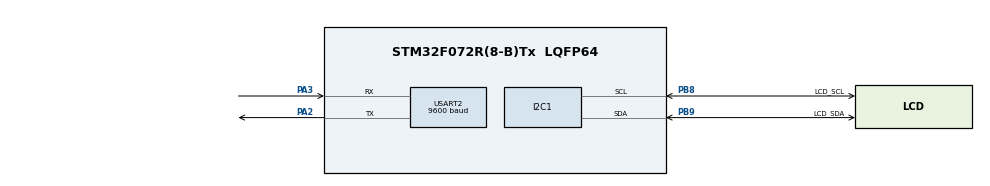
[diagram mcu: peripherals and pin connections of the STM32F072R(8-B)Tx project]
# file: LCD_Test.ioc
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Mcu.Family=STM32F0
Mcu.Name=STM32F072R(8-B)Tx
Mcu.Package=LQFP64
NVIC.USART2_IRQn=true\:0\:0\:false\:false\:true\:true\:true
PA13.Mode=Serial_Wire
PA13.Signal=SYS_SWDIO
PA14.Mode=Serial_Wire
PA14.Signal=SYS_SWCLK
PA2.Mode=Asynchronous
PA2.Signal=USART2_TX
PA3.Mode=Asynchronous
PA3.Signal=USART2_RX
PB6.Signal=USART1_TX
PB7.Signal=USART1_RX
PB8.GPIO_Label=LCD_SCL
PB8.Mode=I2C
PB8.Signal=I2C1_SCL
PB9.GPIO_Label=LCD_SDA
PB9.Mode=I2C
PB9.Signal=I2C1_SDA
ProjectManager.HeapSize=0x200
ProjectManager.StackSize=0x400
ProjectManager.TargetToolchain=STM32CubeIDE
USART2.BaudRate=9600
USART2.VirtualMode-Asynchronous=VM_ASYNC
board=custom

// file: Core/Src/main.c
/* USER CODE BEGIN Header */
/**
  ******************************************************************************
  * @file           : main.c
  * @brief          : Main program body
  ******************************************************************************
  * @attention
  *
  * <h2><center>&copy; Copyright (c) 2020 STMicroelectronics.
  * All rights reserved.</center></h2>
  *
  * This software component is licensed by ST under BSD 3-Clause license,
  * the "License"; You may not use this file except in compliance with the
  * License. You may obtain a copy of the License at:
  *                        opensource.org/licenses/BSD-3-Clause
  *
  ******************************************************************************
  */
/* USER CODE END Header */
#include "main.h"

/* USER CODE BEGIN Includes */
#include "SerLCD.h"
#include <stdio.h>
/* USER CODE END Includes */

I2C_HandleTypeDef hi2c1;

UART_HandleTypeDef huart2;

/* USER CODE BEGIN PV */
uint8_t status_lcd = 0;
uint8_t lcd_counter = 0;
char lcd_string[10] = "";
/* USER CODE END PV */

void SystemClock_Config(void);
static void MX_GPIO_Init(void);
static void MX_I2C1_Init(void);
static void MX_USART2_UART_Init(void);

/* USER CODE BEGIN 0 */
int __io_putchar(int ch) {
	HAL_UART_Transmit(&huart2, (uint8_t*)&ch, 1, 10);

	return 1;
}
/* USER CODE END 0 */

int main(void)
{

  /* MCU Configuration--------------------------------------------------------*/

  /* Reset of all peripherals, Initializes the Flash interface and the Systick. */
  HAL_Init();

  /* Configure the system clock */
  SystemClock_Config();

  /* Initialize all configured peripherals */
  MX_GPIO_Init();
  MX_I2C1_Init();
  MX_USART2_UART_Init();

  /* Infinite loop */
  /* USER CODE BEGIN WHILE */
  while (1)
  {
	  status_lcd = displayInit(&hi2c1);
	  printf("test\r\n");
	  sprintf(lcd_string, "%d", lcd_counter);
	  printf("%s\r\n", lcd_string);
	  displayWriteString(lcd_string);
	  HAL_Delay(2000);
	  lcd_counter++;
    /* USER CODE END WHILE */

  }
}

void SystemClock_Config(void)
{
  RCC_OscInitTypeDef RCC_OscInitStruct = {0};
  RCC_ClkInitTypeDef RCC_ClkInitStruct = {0};
  RCC_PeriphCLKInitTypeDef PeriphClkInit = {0};

  /** Initializes the RCC Oscillators according to the specified parameters
  * in the RCC_OscInitTypeDef structure.
  */
  RCC_OscInitStruct.OscillatorType = RCC_OSCILLATORTYPE_HSI;
  RCC_OscInitStruct.HSIState = RCC_HSI_ON;
  RCC_OscInitStruct.HSICalibrationValue = RCC_HSICALIBRATION_DEFAULT;
  RCC_OscInitStruct.PLL.PLLState = RCC_PLL_NONE;
  if (HAL_RCC_OscConfig(&RCC_OscInitStruct) != HAL_OK)
  {
    Error_Handler();
  }
  /** Initializes the CPU, AHB and APB buses clocks
  */
  RCC_ClkInitStruct.ClockType = RCC_CLOCKTYPE_HCLK|RCC_CLOCKTYPE_SYSCLK
                              |RCC_CLOCKTYPE_PCLK1;
  RCC_ClkInitStruct.SYSCLKSource = RCC_SYSCLKSOURCE_HSI;
  RCC_ClkInitStruct.AHBCLKDivider = RCC_SYSCLK_DIV1;
  RCC_ClkInitStruct.APB1CLKDivider = RCC_HCLK_DIV1;

  if (HAL_RCC_ClockConfig(&RCC_ClkInitStruct, FLASH_LATENCY_0) != HAL_OK)
  {
    Error_Handler();
  }
  PeriphClkInit.PeriphClockSelection = RCC_PERIPHCLK_USART2|RCC_PERIPHCLK_I2C1;
  PeriphClkInit.Usart2ClockSelection = RCC_USART2CLKSOURCE_PCLK1;
  PeriphClkInit.I2c1ClockSelection = RCC_I2C1CLKSOURCE_HSI;
  if (HAL_RCCEx_PeriphCLKConfig(&PeriphClkInit) != HAL_OK)
  {
    Error_Handler();
  }
}

static void MX_I2C1_Init(void)
{

  hi2c1.Instance = I2C1;
  hi2c1.Init.Timing = 0x2000090E;
  hi2c1.Init.OwnAddress1 = 0;
  hi2c1.Init.AddressingMode = I2C_ADDRESSINGMODE_7BIT;
  hi2c1.Init.DualAddressMode = I2C_DUALADDRESS_DISABLE;
  hi2c1.Init.OwnAddress2 = 0;
  hi2c1.Init.OwnAddress2Masks = I2C_OA2_NOMASK;
  hi2c1.Init.GeneralCallMode = I2C_GENERALCALL_DISABLE;
  hi2c1.Init.NoStretchMode = I2C_NOSTRETCH_DISABLE;
  if (HAL_I2C_Init(&hi2c1) != HAL_OK)
  {
    Error_Handler();
  }
  /** Configure Analogue filter
  */
  if (HAL_I2CEx_ConfigAnalogFilter(&hi2c1, I2C_ANALOGFILTER_ENABLE) != HAL_OK)
  {
    Error_Handler();
  }
  /** Configure Digital filter
  */
  if (HAL_I2CEx_ConfigDigitalFilter(&hi2c1, 0) != HAL_OK)
  {
    Error_Handler();
  }

}

static void MX_USART2_UART_Init(void)
{

  huart2.Instance = USART2;
  huart2.Init.BaudRate = 9600;
  huart2.Init.WordLength = UART_WORDLENGTH_8B;
  huart2.Init.StopBits = UART_STOPBITS_1;
  huart2.Init.Parity = UART_PARITY_NONE;
  huart2.Init.Mode = UART_MODE_TX_RX;
  huart2.Init.HwFlowCtl = UART_HWCONTROL_NONE;
  huart2.Init.OverSampling = UART_OVERSAMPLING_16;
  huart2.Init.OneBitSampling = UART_ONE_BIT_SAMPLE_DISABLE;
  huart2.AdvancedInit.AdvFeatureInit = UART_ADVFEATURE_NO_INIT;
  if (HAL_UART_Init(&huart2) != HAL_OK)
  {
    Error_Handler();
  }

}

static void MX_GPIO_Init(void)
{
  GPIO_InitTypeDef GPIO_InitStruct = {0};

  /* GPIO Ports Clock Enable */
  __HAL_RCC_GPIOA_CLK_ENABLE();
  __HAL_RCC_GPIOB_CLK_ENABLE();

  /*Configure GPIO pins : PB6 PB7 */
  GPIO_InitStruct.Pin = GPIO_PIN_6|GPIO_PIN_7;
  GPIO_InitStruct.Mode = GPIO_MODE_AF_PP;
  GPIO_InitStruct.Pull = GPIO_NOPULL;
  GPIO_InitStruct.Speed = GPIO_SPEED_FREQ_HIGH;
  GPIO_InitStruct.Alternate = GPIO_AF0_USART1;
  HAL_GPIO_Init(GPIOB, &GPIO_InitStruct);

}

void Error_Handler(void)
{
  __disable_irq();
  while (1)
  {
  }
}

/************************ (C) COPYRIGHT STMicroelectronics *****END OF FILE****/
